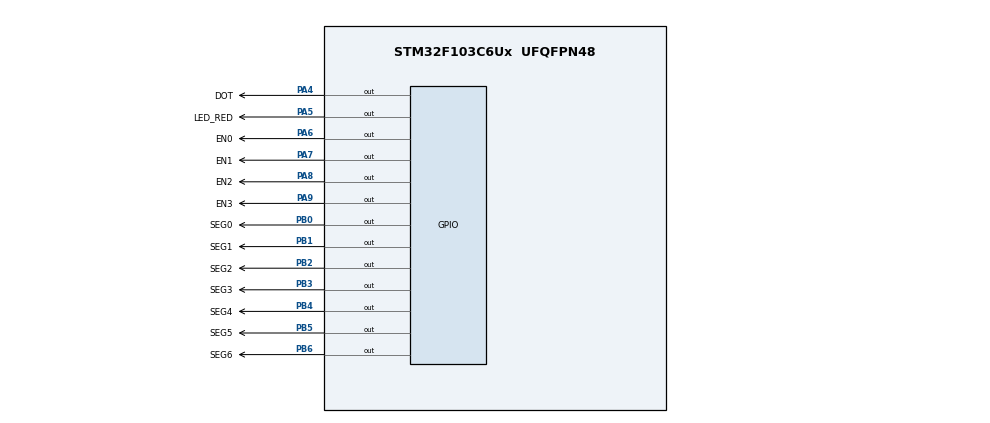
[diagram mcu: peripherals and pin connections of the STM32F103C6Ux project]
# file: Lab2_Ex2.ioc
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Mcu.Family=STM32F1
Mcu.Name=STM32F103C6Ux
Mcu.Package=UFQFPN48
NVIC.PriorityGroup=NVIC_PRIORITYGROUP_4
NVIC.TIM2_IRQn=true\:0\:0\:false\:false\:true\:true\:true
PA4.GPIO_Label=DOT
PA4.Signal=GPIO_Output
PA5.GPIO_Label=LED_RED
PA5.Signal=GPIO_Output
PA6.GPIO_Label=EN0
PA6.Signal=GPIO_Output
PA7.GPIO_Label=EN1
PA7.Signal=GPIO_Output
PA8.GPIO_Label=EN2
PA8.Signal=GPIO_Output
PA9.GPIO_Label=EN3
PA9.Signal=GPIO_Output
PB0.GPIO_Label=SEG0
PB0.Signal=GPIO_Output
PB1.GPIO_Label=SEG1
PB1.Signal=GPIO_Output
PB2.GPIO_Label=SEG2
PB2.Signal=GPIO_Output
PB3.GPIO_Label=SEG3
PB3.Signal=GPIO_Output
PB4.GPIO_Label=SEG4
PB4.Signal=GPIO_Output
PB5.GPIO_Label=SEG5
PB5.Signal=GPIO_Output
PB6.GPIO_Label=SEG6
PB6.Signal=GPIO_Output
ProjectManager.HeapSize=0x200
ProjectManager.StackSize=0x400
ProjectManager.TargetToolchain=STM32CubeIDE
RCC.APB1Freq_Value=8000000
RCC.APB2Freq_Value=8000000
TIM2.Period=9
TIM2.Prescaler=7999
VP_SYS_VS_ND.Mode=No_Debug
VP_TIM2_VS_ClockSourceINT.Mode=Internal
board=custom

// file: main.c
/* USER CODE BEGIN Header */
/**
  ******************************************************************************
  * @file           : main.c
  * @brief          : Main program body
  ******************************************************************************
  * @attention
  *
  * <h2><center>&copy; Copyright (c) 2022 STMicroelectronics.
  * All rights reserved.</center></h2>
  *
  * This software component is licensed by ST under BSD 3-Clause license,
  * the "License"; You may not use this file except in compliance with the
  * License. You may obtain a copy of the License at:
  *                        opensource.org/licenses/BSD-3-Clause
  *
  ******************************************************************************
  */
/* USER CODE END Header */
#include "main.h"
#include "software_timer.h"

TIM_HandleTypeDef htim2;

void SystemClock_Config(void);
static void MX_GPIO_Init(void);
static void MX_TIM2_Init(void);

int main(void)
{

  /* MCU Configuration--------------------------------------------------------*/

  /* Reset of all peripherals, Initializes the Flash interface and the Systick. */
  HAL_Init();

  /* Configure the system clock */
  SystemClock_Config();

  /* Initialize all configured peripherals */
  MX_GPIO_Init();
  MX_TIM2_Init();
  /* USER CODE BEGIN 2 */
  HAL_TIM_Base_Start_IT (& htim2 ) ;
  /* USER CODE END 2 */

  /* Infinite loop */
  while (1)
  {

  }
}

void SystemClock_Config(void)
{
  RCC_OscInitTypeDef RCC_OscInitStruct = {0};
  RCC_ClkInitTypeDef RCC_ClkInitStruct = {0};

  /** Initializes the RCC Oscillators according to the specified parameters
  * in the RCC_OscInitTypeDef structure.
  */
  RCC_OscInitStruct.OscillatorType = RCC_OSCILLATORTYPE_HSI;
  RCC_OscInitStruct.HSIState = RCC_HSI_ON;
  RCC_OscInitStruct.HSICalibrationValue = RCC_HSICALIBRATION_DEFAULT;
  RCC_OscInitStruct.PLL.PLLState = RCC_PLL_NONE;
  if (HAL_RCC_OscConfig(&RCC_OscInitStruct) != HAL_OK)
  {
    Error_Handler();
  }
  /** Initializes the CPU, AHB and APB buses clocks
  */
  RCC_ClkInitStruct.ClockType = RCC_CLOCKTYPE_HCLK|RCC_CLOCKTYPE_SYSCLK
                              |RCC_CLOCKTYPE_PCLK1|RCC_CLOCKTYPE_PCLK2;
  RCC_ClkInitStruct.SYSCLKSource = RCC_SYSCLKSOURCE_HSI;
  RCC_ClkInitStruct.AHBCLKDivider = RCC_SYSCLK_DIV1;
  RCC_ClkInitStruct.APB1CLKDivider = RCC_HCLK_DIV1;
  RCC_ClkInitStruct.APB2CLKDivider = RCC_HCLK_DIV1;

  if (HAL_RCC_ClockConfig(&RCC_ClkInitStruct, FLASH_LATENCY_0) != HAL_OK)
  {
    Error_Handler();
  }
}

static void MX_TIM2_Init(void)
{

  TIM_ClockConfigTypeDef sClockSourceConfig = {0};
  TIM_MasterConfigTypeDef sMasterConfig = {0};

  htim2.Instance = TIM2;
  htim2.Init.Prescaler = 7999;
  htim2.Init.CounterMode = TIM_COUNTERMODE_UP;
  htim2.Init.Period = 9;
  htim2.Init.ClockDivision = TIM_CLOCKDIVISION_DIV1;
  htim2.Init.AutoReloadPreload = TIM_AUTORELOAD_PRELOAD_DISABLE;
  if (HAL_TIM_Base_Init(&htim2) != HAL_OK)
  {
    Error_Handler();
  }
  sClockSourceConfig.ClockSource = TIM_CLOCKSOURCE_INTERNAL;
  if (HAL_TIM_ConfigClockSource(&htim2, &sClockSourceConfig) != HAL_OK)
  {
    Error_Handler();
  }
  sMasterConfig.MasterOutputTrigger = TIM_TRGO_RESET;
  sMasterConfig.MasterSlaveMode = TIM_MASTERSLAVEMODE_DISABLE;
  if (HAL_TIMEx_MasterConfigSynchronization(&htim2, &sMasterConfig) != HAL_OK)
  {
    Error_Handler();
  }

}

static void MX_GPIO_Init(void)
{
  GPIO_InitTypeDef GPIO_InitStruct = {0};

  /* GPIO Ports Clock Enable */
  __HAL_RCC_GPIOA_CLK_ENABLE();
  __HAL_RCC_GPIOB_CLK_ENABLE();

  /*Configure GPIO pin Output Level */
  HAL_GPIO_WritePin(GPIOA, DOT_Pin|LED_RED_Pin|EN0_Pin|EN1_Pin
                          |EN2_Pin|EN3_Pin, GPIO_PIN_RESET);

  /*Configure GPIO pin Output Level */
  HAL_GPIO_WritePin(GPIOB, SEG0_Pin|SEG1_Pin|SEG2_Pin|SEG3_Pin
                          |SEG4_Pin|SEG5_Pin|SEG6_Pin, GPIO_PIN_RESET);

  /*Configure GPIO pins : DOT_Pin LED_RED_Pin EN0_Pin EN1_Pin
                           EN2_Pin EN3_Pin */
  GPIO_InitStruct.Pin = DOT_Pin|LED_RED_Pin|EN0_Pin|EN1_Pin
                          |EN2_Pin|EN3_Pin;
  GPIO_InitStruct.Mode = GPIO_MODE_OUTPUT_PP;
  GPIO_InitStruct.Pull = GPIO_NOPULL;
  GPIO_InitStruct.Speed = GPIO_SPEED_FREQ_LOW;
  HAL_GPIO_Init(GPIOA, &GPIO_InitStruct);

  /*Configure GPIO pins : SEG0_Pin SEG1_Pin SEG2_Pin SEG3_Pin
                           SEG4_Pin SEG5_Pin SEG6_Pin */
  GPIO_InitStruct.Pin = SEG0_Pin|SEG1_Pin|SEG2_Pin|SEG3_Pin
                          |SEG4_Pin|SEG5_Pin|SEG6_Pin;
  GPIO_InitStruct.Mode = GPIO_MODE_OUTPUT_PP;
  GPIO_InitStruct.Pull = GPIO_NOPULL;
  GPIO_InitStruct.Speed = GPIO_SPEED_FREQ_LOW;
  HAL_GPIO_Init(GPIOB, &GPIO_InitStruct);

}

/* USER CODE BEGIN 4 */
void display7SEG(int num){
	GPIOB->ODR = ~(0x0000);
	if(num == 0){
		GPIOB->ODR = ~(0x003F);
	}
	if(num == 1){
			GPIOB->ODR = ~(0x0006);
		}
	if(num == 2){
			GPIOB->ODR = ~(0x005B);
		}
	if(num == 3){
			GPIOB->ODR = ~(0x004F);
		}
	if(num == 4){
			GPIOB->ODR = ~(0x0066);
		}
	if(num == 5){
			GPIOB->ODR = ~(0x006D);
		}
	if(num == 6){
			GPIOB->ODR = ~(0x007D);
		}
	if(num == 7){
			GPIOB->ODR = ~(0x0007);
		}
	if(num == 8){
			GPIOB->ODR = ~(0x007F);
		}
	if(num == 9){
			GPIOB->ODR = ~(0x006F);
		}
}
void setEnPin(int num){
	if(num == 0){
		HAL_GPIO_WritePin(EN0_GPIO_Port, EN0_Pin, RESET);
		HAL_GPIO_WritePin(EN1_GPIO_Port, EN1_Pin, SET);
		HAL_GPIO_WritePin(EN2_GPIO_Port, EN2_Pin, SET);
		HAL_GPIO_WritePin(EN3_GPIO_Port, EN3_Pin, SET);
	}
	if(num == 1){
		HAL_GPIO_WritePin(EN0_GPIO_Port, EN0_Pin, SET);
		HAL_GPIO_WritePin(EN1_GPIO_Port, EN1_Pin, RESET);
		HAL_GPIO_WritePin(EN2_GPIO_Port, EN2_Pin, SET);
		HAL_GPIO_WritePin(EN3_GPIO_Port, EN3_Pin, SET);
		}
	if(num == 2){
		HAL_GPIO_WritePin(EN0_GPIO_Port, EN0_Pin, SET);
		HAL_GPIO_WritePin(EN1_GPIO_Port, EN1_Pin, SET);
		HAL_GPIO_WritePin(EN2_GPIO_Port, EN2_Pin, RESET);
		HAL_GPIO_WritePin(EN3_GPIO_Port, EN3_Pin, SET);
		}
	if(num == 3){
		HAL_GPIO_WritePin(EN0_GPIO_Port, EN0_Pin, SET);
		HAL_GPIO_WritePin(EN1_GPIO_Port, EN1_Pin, SET);
		HAL_GPIO_WritePin(EN2_GPIO_Port, EN2_Pin, SET);
		HAL_GPIO_WritePin(EN3_GPIO_Port, EN3_Pin, RESET);
		}
}

int counter = 50;
int status = 0;

void HAL_TIM_PeriodElapsedCallback ( TIM_HandleTypeDef * htim )
{
	counter--;
	setEnPin(status);
	if(status == 0){
		HAL_GPIO_WritePin(LED_RED_GPIO_Port, LED_RED_Pin, RESET);
		HAL_GPIO_WritePin(DOT_GPIO_Port, DOT_Pin, SET);
		display7SEG(1);
	}
	else if(status == 1){
		HAL_GPIO_WritePin(LED_RED_GPIO_Port, LED_RED_Pin, SET);
		display7SEG(2);
	}
	else if(status == 2){
		HAL_GPIO_WritePin(LED_RED_GPIO_Port, LED_RED_Pin, RESET);
		HAL_GPIO_WritePin(DOT_GPIO_Port, DOT_Pin, RESET);
		display7SEG(3);
	}
	else if(status == 3){
		HAL_GPIO_WritePin(LED_RED_GPIO_Port, LED_RED_Pin, SET);
		display7SEG(0);
	}

	if(counter <= 0){
		counter = 50;
		if(status >= 3) status = 0;
		else status++;
	}
}
/* USER CODE END 4 */

void Error_Handler(void)
{
  __disable_irq();
  while (1)
  {
  }
}

/************************ (C) COPYRIGHT STMicroelectronics *****END OF FILE****/
